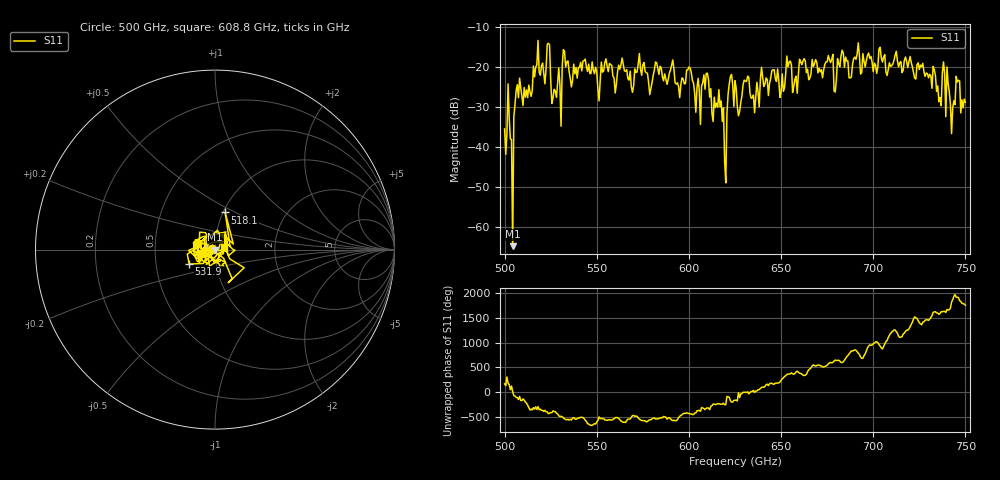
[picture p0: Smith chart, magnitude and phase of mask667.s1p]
!Created with skrf (http://scikit-rf.org).
# GHz S MA R 50.0
!freq magS11 angS11
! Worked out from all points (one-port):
!   401 points, 500 GHz to 750 GHz, reference 50 ohm
!   lowest |S11| = -64.8 dB at 504.4 GHz (marker M1), VSWR 1.00, Z = 50.1 + j0.0137 ohm
!   |S11| at or under -10 dB: start of sweep to end of sweep
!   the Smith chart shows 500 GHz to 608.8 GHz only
!   S11 on the Smith chart (normalised r, x): 500 GHz: 0.97, +0.01; 518.1 GHz: 1.02, +0.44; 531.9 GHz: 0.74, -0.12; 608.8 GHz: 1.11, +0.03
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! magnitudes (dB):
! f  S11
! 500 GHz  -35.5
! 502.5 GHz  -32.8
! 504.4 GHz  -64.8
! 506.9 GHz  -24.4
! 513.8 GHz  -26.2
! 518.1 GHz  -13.4
! 523.8 GHz  -14.1
! 526.9 GHz  -25.6
! 531.2 GHz  -19.9
! 531.9 GHz  -15.7
! 562.5 GHz  -20.6
! 579.4 GHz  -25.4
! 590.6 GHz  -19.5
! 593.8 GHz  -24.0
! 600 GHz  -20.0
! 605 GHz  -22.9
! 608.8 GHz  -25.6
! 617.5 GHz  -28.5
! 619.4 GHz  -43.7
! 622.5 GHz  -22.4
! 625 GHz  -23.4
! 656.2 GHz  -26.4
! 687.5 GHz  -22.7
! 718.8 GHz  -20.2
! 738.8 GHz  -21.7
! 743.1 GHz  -30.2
! 745.6 GHz  -23.8
! 750 GHz  -28.8
